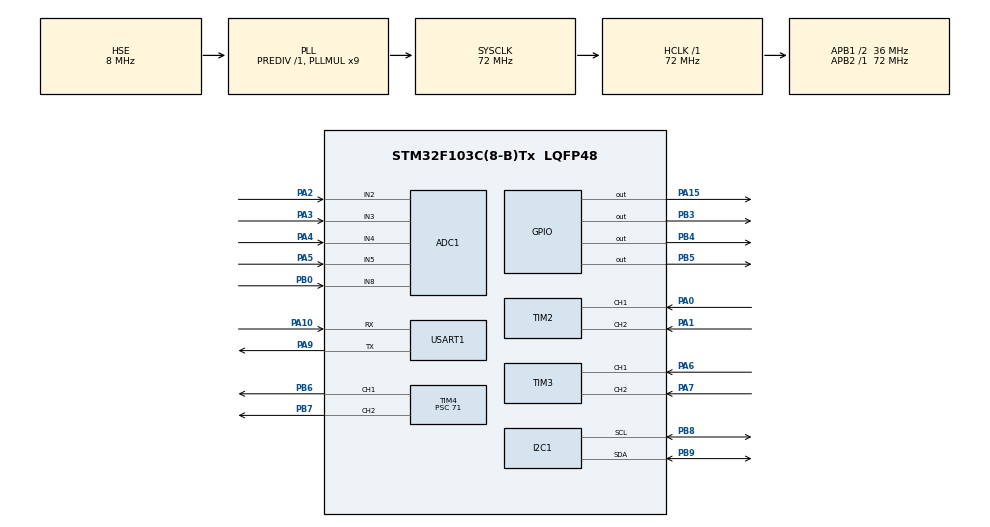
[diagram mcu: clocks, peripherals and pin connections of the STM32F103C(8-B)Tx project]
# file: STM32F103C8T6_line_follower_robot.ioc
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ADC1.Channel-0\#ChannelRegularConversion=ADC_CHANNEL_2
ADC1.Channel-1\#ChannelRegularConversion=ADC_CHANNEL_3
ADC1.Channel-2\#ChannelRegularConversion=ADC_CHANNEL_4
ADC1.Channel-3\#ChannelRegularConversion=ADC_CHANNEL_5
ADC1.Channel-4\#ChannelRegularConversion=ADC_CHANNEL_8
ADC1.NbrOfConversion=5
ADC1.NbrOfConversionFlag=1
ADC1.Rank-0\#ChannelRegularConversion=1
ADC1.Rank-1\#ChannelRegularConversion=2
ADC1.Rank-2\#ChannelRegularConversion=3
ADC1.Rank-3\#ChannelRegularConversion=4
ADC1.Rank-4\#ChannelRegularConversion=5
ADC1.SamplingTime-0\#ChannelRegularConversion=ADC_SAMPLETIME_239CYCLES_5
ADC1.SamplingTime-1\#ChannelRegularConversion=ADC_SAMPLETIME_239CYCLES_5
ADC1.SamplingTime-2\#ChannelRegularConversion=ADC_SAMPLETIME_239CYCLES_5
ADC1.SamplingTime-3\#ChannelRegularConversion=ADC_SAMPLETIME_239CYCLES_5
ADC1.SamplingTime-4\#ChannelRegularConversion=ADC_SAMPLETIME_239CYCLES_5
ADC1.master=1
Dma.ADC1.1.Direction=DMA_PERIPH_TO_MEMORY
Dma.ADC1.1.Instance=DMA1_Channel1
Dma.ADC1.1.MemDataAlignment=DMA_MDATAALIGN_HALFWORD
Dma.ADC1.1.MemInc=DMA_MINC_ENABLE
Dma.ADC1.1.Mode=DMA_CIRCULAR
Dma.ADC1.1.PeriphDataAlignment=DMA_PDATAALIGN_HALFWORD
Dma.ADC1.1.PeriphInc=DMA_PINC_DISABLE
Dma.ADC1.1.Priority=DMA_PRIORITY_LOW
Dma.I2C1_RX.0.Direction=DMA_PERIPH_TO_MEMORY
Dma.I2C1_RX.0.Instance=DMA1_Channel7
Dma.I2C1_RX.0.MemDataAlignment=DMA_MDATAALIGN_BYTE
Dma.I2C1_RX.0.MemInc=DMA_MINC_ENABLE
Dma.I2C1_RX.0.Mode=DMA_NORMAL
Dma.I2C1_RX.0.PeriphDataAlignment=DMA_PDATAALIGN_BYTE
Dma.I2C1_RX.0.PeriphInc=DMA_PINC_DISABLE
Dma.I2C1_RX.0.Priority=DMA_PRIORITY_LOW
Dma.Request0=I2C1_RX
Dma.Request1=ADC1
I2C1.I2C_Mode=I2C_Standard
Mcu.Family=STM32F1
Mcu.Name=STM32F103C(8-B)Tx
Mcu.Package=LQFP48
NVIC.DMA1_Channel1_IRQn=true\:0\:0\:false\:false\:true\:false\:true\:true
NVIC.DMA1_Channel7_IRQn=true\:0\:0\:false\:false\:true\:false\:true\:true
NVIC.I2C1_EV_IRQn=true\:0\:0\:false\:false\:true\:true\:true\:true
NVIC.PriorityGroup=NVIC_PRIORITYGROUP_4
NVIC.TIM1_UP_IRQn=true\:0\:0\:false\:false\:true\:true\:true\:true
NVIC.USART1_IRQn=true\:0\:0\:false\:false\:true\:true\:true\:true
PA0-WKUP.Signal=S_TIM2_CH1_ETR
PA1.Signal=S_TIM2_CH2
PA10.Mode=Asynchronous
PA10.Signal=USART1_RX
PA15.Signal=GPIO_Output
PA2.Signal=ADCx_IN2
PA3.Signal=ADCx_IN3
PA4.Signal=ADCx_IN4
PA5.Signal=ADCx_IN5
PA6.Signal=S_TIM3_CH1
PA7.Signal=S_TIM3_CH2
PA9.Mode=Asynchronous
PA9.Signal=USART1_TX
PB0.Signal=ADCx_IN8
PB3.Signal=GPIO_Output
PB4.Signal=GPIO_Output
PB5.Signal=GPIO_Output
PB6.Signal=S_TIM4_CH1
PB7.Signal=S_TIM4_CH2
PB8.Mode=I2C
PB8.Signal=I2C1_SCL
PB9.Mode=I2C
PB9.Signal=I2C1_SDA
PD0-OSC_IN.Mode=HSE-External-Oscillator
PD0-OSC_IN.Signal=RCC_OSC_IN
PD1-OSC_OUT.Mode=HSE-External-Oscillator
PD1-OSC_OUT.Signal=RCC_OSC_OUT
ProjectManager.HeapSize=0x200
ProjectManager.StackSize=0x400
ProjectManager.TargetToolchain=Makefile
RCC.ADCPresc=RCC_ADCPCLK2_DIV6
RCC.AHBFreq_Value=72000000
RCC.APB1CLKDivider=RCC_HCLK_DIV2
RCC.APB1Freq_Value=36000000
RCC.APB1TimFreq_Value=72000000
RCC.APB2Freq_Value=72000000
RCC.APB2TimFreq_Value=72000000
RCC.HCLKFreq_Value=72000000
RCC.PLLMUL=RCC_PLL_MUL9
RCC.PLLSourceVirtual=RCC_PLLSOURCE_HSE
RCC.SYSCLKFreq_VALUE=72000000
RCC.SYSCLKSource=RCC_SYSCLKSOURCE_PLLCLK
RCC.USBFreq_Value=72000000
SH.ADCx_IN2.0=ADC1_IN2,IN2
SH.ADCx_IN3.0=ADC1_IN3,IN3
SH.ADCx_IN4.0=ADC1_IN4,IN4
SH.ADCx_IN5.0=ADC1_IN5,IN5
SH.ADCx_IN8.0=ADC1_IN8,IN8
SH.S_TIM2_CH1_ETR.0=TIM2_CH1,Encoder_Interface
SH.S_TIM2_CH2.0=TIM2_CH2,Encoder_Interface
SH.S_TIM3_CH1.0=TIM3_CH1,Encoder_Interface
SH.S_TIM3_CH2.0=TIM3_CH2,Encoder_Interface
SH.S_TIM4_CH1.0=TIM4_CH1,PWM Generation1 CH1
SH.S_TIM4_CH2.0=TIM4_CH2,PWM Generation2 CH2
TIM1.AutoReloadPreload=TIM_AUTORELOAD_PRELOAD_ENABLE
TIM1.Period=2000
TIM1.Prescaler=720
TIM2.AutoReloadPreload=TIM_AUTORELOAD_PRELOAD_ENABLE
TIM2.EncoderMode=TIM_ENCODERMODE_TI12
TIM2.IC1Filter=10
TIM2.IC2Filter=10
TIM3.AutoReloadPreload=TIM_AUTORELOAD_PRELOAD_ENABLE
TIM3.EncoderMode=TIM_ENCODERMODE_TI12
TIM3.IC1Filter=10
TIM3.IC2Filter=10
TIM4.AutoReloadPreload=TIM_AUTORELOAD_PRELOAD_ENABLE
TIM4.Channel-PWM\ Generation1\ CH1=TIM_CHANNEL_1
TIM4.Channel-PWM\ Generation2\ CH2=TIM_CHANNEL_2
TIM4.Period=499
TIM4.Prescaler=71
USART1.VirtualMode=VM_ASYNC
VP_SYS_VS_ND.Mode=No_Debug
VP_TIM1_VS_ClockSourceINT.Mode=Internal
VP_TIM4_VS_ClockSourceINT.Mode=Internal
board=custom

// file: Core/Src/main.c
/* USER CODE BEGIN Header */
/**
  ******************************************************************************
  * @file           : main.c
  * @brief          : Main program body
  ******************************************************************************
  * @attention
  *
  * Copyright (c) 2023 STMicroelectronics.
  * All rights reserved.
  *
  * This software is licensed under terms that can be found in the LICENSE file
  * in the root directory of this software component.
  * If no LICENSE file comes with this software, it is provided AS-IS.
  *
  ******************************************************************************
  */
/* USER CODE END Header */
#include "main.h"

/* USER CODE BEGIN Includes */
#include <stdio.h>
#include <string.h>

#include "../../ECUAL/Line_controller/Line_controller.h"
#include "../../ECUAL/Line_controller/Line_controller_cfg.h"
#include "../../ECUAL/PID_motor/PID_motor.h"
#include "../../ECUAL/PID_motor/PID_motor_cfg.h"
/* USER CODE END Includes */

/* USER CODE BEGIN PD */

// Define the I2C address of the slave controller
#define SLAVE_ADD 8

/* USER CODE END PD */

ADC_HandleTypeDef hadc1;
DMA_HandleTypeDef hdma_adc1;

I2C_HandleTypeDef hi2c1;
DMA_HandleTypeDef hdma_i2c1_rx;

TIM_HandleTypeDef htim1;
TIM_HandleTypeDef htim2;
TIM_HandleTypeDef htim3;
TIM_HandleTypeDef htim4;

UART_HandleTypeDef huart1;

void SystemClock_Config(void);
static void MX_GPIO_Init(void);
static void MX_DMA_Init(void);
static void MX_ADC1_Init(void);
static void MX_TIM1_Init(void);
static void MX_TIM2_Init(void);
static void MX_TIM3_Init(void);
static void MX_TIM4_Init(void);
static void MX_USART1_UART_Init(void);
static void MX_I2C1_Init(void);
/* USER CODE BEGIN PFP */
static void sequencePosition(void);
/* USER CODE END PFP */

/* USER CODE BEGIN 0 */

// Current used controller
typedef enum
{
  LINE_CONTROLLER,
  POSITION_CONTROLLER
}Controller_type;

// Condition of avoiding obstacle
typedef enum
{
  FAR,
  CLOSE,
  ATTEMPING,
  DONE_AVOID
}Obstacle_condition;

// Sequence of avoiding obstacle
typedef enum
{
  ROTATE_RIGHT_1,
  LINEAR_100_1,
  ROTATE_LEFT_1,
  LINEAR_200,
  ROTATE_LEFT_2,
  LINEAR_100_2,
  ROTATE_RIGHT_2,
  DONE
}Obstacle_avoidance;

Controller_type current_controller = LINE_CONTROLLER;
Obstacle_condition obstacle_condition = FAR;
Obstacle_avoidance obstacle_avoidance = ROTATE_RIGHT_1;

// Global variables
uint8_t tx_buffer[20];
uint8_t count = 0;

uint8_t obs_command[1];
uint8_t i2c_flag = 1;
uint8_t last_obs_command = 'a';
uint8_t running = 0;

// // Function to handle I2C DMA service
void HAL_I2C_MasterRxCpltCallback (I2C_HandleTypeDef* hi2c)
{
  if(i2c_flag)
  {
    // Check if 2 consecutive values are the same to avoid noise
    if(obs_command[0] == last_obs_command && last_obs_command != 'a')
    {
      // Reduce the speed of the motor when close to the obstacle
      if(last_obs_command == 'b')
      {
        linearVelocityUpdate(&robot_line_controller, 0.2);
        obstacle_condition = CLOSE;
      }
      // Change to position control mode when close to the obstalce
      else if(last_obs_command == 'c')
      {
        robotStop(&motor_left, &motor_right);
        obstacle_condition = ATTEMPING;
        current_controller = POSITION_CONTROLLER;
      }
    }
    last_obs_command = obs_command[0];
  }
  i2c_flag = 1 - i2c_flag;
}

// Function to handle timer interrupt callback
void HAL_TIM_PeriodElapsedCallback(TIM_HandleTypeDef* htim)
{
  if(htim->Instance == TIM1)
  {
    // Get the obstacle distance value from the slave controller
    if(obstacle_condition == FAR || obstacle_condition == CLOSE)
    {
      HAL_I2C_Master_Receive_DMA(&hi2c1, ((SLAVE_ADD << 0x01) | 0x01), obs_command, 1);
    }

    switch (current_controller)
    {
    case LINE_CONTROLLER:
      // Activate the line controller every 100ms
      if(++count == 4)
      {
        count = 0;
        lineControllerPID(&hadc1, &motor_left, &motor_right, &robot_line_controller);
      }
      // Control the speed of 2 motors every 20ms
      speedControlPID(&motor_left);
      speedControlPID(&motor_right);

      break;

    case POSITION_CONTROLLER:
      sequencePosition();
      // Control the position of the robot every 20ms
      uint8_t pos_l = positionControlPID(&motor_left);
      uint8_t pos_r = positionControlPID(&motor_right);
      if(pos_l && pos_r)
      {
        running = 0;
        pos_l = 0;
        pos_r = 0;
        // HAL_UART_Transmit(&huart1, "Done\r\n", 6, 100);
      }
      break;

    default:
      break;
    }

    // Send the real-time data via Bluetooth to computer
    sprintf((char*)tx_buffer,"%ld,%ld,%.2f\r\n", motor_left.real_speed, motor_right.real_speed, robot_line_controller.robot_line_sensor.sensor_output);
    HAL_UART_Transmit(&huart1, tx_buffer, strlen((char*)tx_buffer), 100);
  }
}

/* USER CODE END 0 */

int main(void)
{

  /* MCU Configuration--------------------------------------------------------*/

  /* Reset of all peripherals, Initializes the Flash interface and the Systick. */
  HAL_Init();

  /* Configure the system clock */
  SystemClock_Config();

  /* Initialize all configured peripherals */
  MX_GPIO_Init();
  MX_DMA_Init();
  MX_ADC1_Init();
  MX_TIM1_Init();
  MX_TIM2_Init();
  MX_TIM3_Init();
  MX_TIM4_Init();
  MX_USART1_UART_Init();
  MX_I2C1_Init();
  /* USER CODE BEGIN 2 */

  // Initiate the line follower controller
  lineControllerInit(&hadc1, motor_left, motor_right, &robot_line_controller, 0.4);

  // Initiate the PWM of the 2 motors
  HAL_TIM_PWM_Start(&htim4, TIM_CHANNEL_1);
  HAL_TIM_PWM_Start(&htim4, TIM_CHANNEL_2);

  // Initiate the Encoder read of 2 motors
  HAL_TIM_Encoder_Start(&htim2, TIM_CHANNEL_ALL);
  HAL_TIM_Encoder_Start(&htim3, TIM_CHANNEL_ALL);

  HAL_Delay(1000);

  // Scan for slave device
  // if(HAL_I2C_IsDeviceReady(&hi2c1, (uint16_t)(SLAVE_ADD << 1), 3, 5)  != HAL_OK)
  // {
  //   HAL_UART_Transmit_DMA(&huart1, (uint8_t*)"Error: Slave no found\r\n", 24);
  //   return 0;
  // }

  // Send signal message via Bluetooth
  HAL_UART_Transmit(&huart1, (uint8_t*)"System is ready\r\n", 17, 100);

  // Initiate the system overall TIMER
  HAL_TIM_Base_Start_IT(&htim1);

  // Read the line sensor for the first time
  lineControllerPID(&hadc1, &motor_left, &motor_right, &robot_line_controller);
  /* USER CODE END 2 */

  /* Infinite loop */
  while (1)
  {

  }
}

void SystemClock_Config(void)
{
  RCC_OscInitTypeDef RCC_OscInitStruct = {0};
  RCC_ClkInitTypeDef RCC_ClkInitStruct = {0};
  RCC_PeriphCLKInitTypeDef PeriphClkInit = {0};

  /** Initializes the RCC Oscillators according to the specified parameters
  * in the RCC_OscInitTypeDef structure.
  */
  RCC_OscInitStruct.OscillatorType = RCC_OSCILLATORTYPE_HSE;
  RCC_OscInitStruct.HSEState = RCC_HSE_ON;
  RCC_OscInitStruct.HSEPredivValue = RCC_HSE_PREDIV_DIV1;
  RCC_OscInitStruct.HSIState = RCC_HSI_ON;
  RCC_OscInitStruct.PLL.PLLState = RCC_PLL_ON;
  RCC_OscInitStruct.PLL.PLLSource = RCC_PLLSOURCE_HSE;
  RCC_OscInitStruct.PLL.PLLMUL = RCC_PLL_MUL9;
  if (HAL_RCC_OscConfig(&RCC_OscInitStruct) != HAL_OK)
  {
    Error_Handler();
  }

  /** Initializes the CPU, AHB and APB buses clocks
  */
  RCC_ClkInitStruct.ClockType = RCC_CLOCKTYPE_HCLK|RCC_CLOCKTYPE_SYSCLK
                              |RCC_CLOCKTYPE_PCLK1|RCC_CLOCKTYPE_PCLK2;
  RCC_ClkInitStruct.SYSCLKSource = RCC_SYSCLKSOURCE_PLLCLK;
  RCC_ClkInitStruct.AHBCLKDivider = RCC_SYSCLK_DIV1;
  RCC_ClkInitStruct.APB1CLKDivider = RCC_HCLK_DIV2;
  RCC_ClkInitStruct.APB2CLKDivider = RCC_HCLK_DIV1;

  if (HAL_RCC_ClockConfig(&RCC_ClkInitStruct, FLASH_LATENCY_2) != HAL_OK)
  {
    Error_Handler();
  }
  PeriphClkInit.PeriphClockSelection = RCC_PERIPHCLK_ADC;
  PeriphClkInit.AdcClockSelection = RCC_ADCPCLK2_DIV6;
  if (HAL_RCCEx_PeriphCLKConfig(&PeriphClkInit) != HAL_OK)
  {
    Error_Handler();
  }
}

static void MX_ADC1_Init(void)
{

  ADC_ChannelConfTypeDef sConfig = {0};

  /** Common config
  */
  hadc1.Instance = ADC1;
  hadc1.Init.ScanConvMode = ADC_SCAN_ENABLE;
  hadc1.Init.ContinuousConvMode = DISABLE;
  hadc1.Init.DiscontinuousConvMode = DISABLE;
  hadc1.Init.ExternalTrigConv = ADC_SOFTWARE_START;
  hadc1.Init.DataAlign = ADC_DATAALIGN_RIGHT;
  hadc1.Init.NbrOfConversion = 5;
  if (HAL_ADC_Init(&hadc1) != HAL_OK)
  {
    Error_Handler();
  }

  /** Configure Regular Channel
  */
  sConfig.Channel = ADC_CHANNEL_2;
  sConfig.Rank = ADC_REGULAR_RANK_1;
  sConfig.SamplingTime = ADC_SAMPLETIME_239CYCLES_5;
  if (HAL_ADC_ConfigChannel(&hadc1, &sConfig) != HAL_OK)
  {
    Error_Handler();
  }

  /** Configure Regular Channel
  */
  sConfig.Channel = ADC_CHANNEL_3;
  sConfig.Rank = ADC_REGULAR_RANK_2;
  if (HAL_ADC_ConfigChannel(&hadc1, &sConfig) != HAL_OK)
  {
    Error_Handler();
  }

  /** Configure Regular Channel
  */
  sConfig.Channel = ADC_CHANNEL_4;
  sConfig.Rank = ADC_REGULAR_RANK_3;
  if (HAL_ADC_ConfigChannel(&hadc1, &sConfig) != HAL_OK)
  {
    Error_Handler();
  }

  /** Configure Regular Channel
  */
  sConfig.Channel = ADC_CHANNEL_5;
  sConfig.Rank = ADC_REGULAR_RANK_4;
  if (HAL_ADC_ConfigChannel(&hadc1, &sConfig) != HAL_OK)
  {
    Error_Handler();
  }

  /** Configure Regular Channel
  */
  sConfig.Channel = ADC_CHANNEL_8;
  sConfig.Rank = ADC_REGULAR_RANK_5;
  if (HAL_ADC_ConfigChannel(&hadc1, &sConfig) != HAL_OK)
  {
    Error_Handler();
  }

}

static void MX_I2C1_Init(void)
{

  hi2c1.Instance = I2C1;
  hi2c1.Init.ClockSpeed = 100000;
  hi2c1.Init.DutyCycle = I2C_DUTYCYCLE_2;
  hi2c1.Init.OwnAddress1 = 0;
  hi2c1.Init.AddressingMode = I2C_ADDRESSINGMODE_7BIT;
  hi2c1.Init.DualAddressMode = I2C_DUALADDRESS_DISABLE;
  hi2c1.Init.OwnAddress2 = 0;
  hi2c1.Init.GeneralCallMode = I2C_GENERALCALL_DISABLE;
  hi2c1.Init.NoStretchMode = I2C_NOSTRETCH_DISABLE;
  if (HAL_I2C_Init(&hi2c1) != HAL_OK)
  {
    Error_Handler();
  }

}

static void MX_TIM1_Init(void)
{

  TIM_ClockConfigTypeDef sClockSourceConfig = {0};
  TIM_MasterConfigTypeDef sMasterConfig = {0};

  htim1.Instance = TIM1;
  htim1.Init.Prescaler = 720;
  htim1.Init.CounterMode = TIM_COUNTERMODE_UP;
  htim1.Init.Period = 2000;
  htim1.Init.ClockDivision = TIM_CLOCKDIVISION_DIV1;
  htim1.Init.RepetitionCounter = 0;
  htim1.Init.AutoReloadPreload = TIM_AUTORELOAD_PRELOAD_ENABLE;
  if (HAL_TIM_Base_Init(&htim1) != HAL_OK)
  {
    Error_Handler();
  }
  sClockSourceConfig.ClockSource = TIM_CLOCKSOURCE_INTERNAL;
  if (HAL_TIM_ConfigClockSource(&htim1, &sClockSourceConfig) != HAL_OK)
  {
    Error_Handler();
  }
  sMasterConfig.MasterOutputTrigger = TIM_TRGO_RESET;
  sMasterConfig.MasterSlaveMode = TIM_MASTERSLAVEMODE_DISABLE;
  if (HAL_TIMEx_MasterConfigSynchronization(&htim1, &sMasterConfig) != HAL_OK)
  {
    Error_Handler();
  }

}

static void MX_TIM2_Init(void)
{

  TIM_Encoder_InitTypeDef sConfig = {0};
  TIM_MasterConfigTypeDef sMasterConfig = {0};

  htim2.Instance = TIM2;
  htim2.Init.Prescaler = 0;
  htim2.Init.CounterMode = TIM_COUNTERMODE_UP;
  htim2.Init.Period = 65535;
  htim2.Init.ClockDivision = TIM_CLOCKDIVISION_DIV1;
  htim2.Init.AutoReloadPreload = TIM_AUTORELOAD_PRELOAD_ENABLE;
  sConfig.EncoderMode = TIM_ENCODERMODE_TI12;
  sConfig.IC1Polarity = TIM_ICPOLARITY_RISING;
  sConfig.IC1Selection = TIM_ICSELECTION_DIRECTTI;
  sConfig.IC1Prescaler = TIM_ICPSC_DIV1;
  sConfig.IC1Filter = 10;
  sConfig.IC2Polarity = TIM_ICPOLARITY_RISING;
  sConfig.IC2Selection = TIM_ICSELECTION_DIRECTTI;
  sConfig.IC2Prescaler = TIM_ICPSC_DIV1;
  sConfig.IC2Filter = 10;
  if (HAL_TIM_Encoder_Init(&htim2, &sConfig) != HAL_OK)
  {
    Error_Handler();
  }
  sMasterConfig.MasterOutputTrigger = TIM_TRGO_RESET;
  sMasterConfig.MasterSlaveMode = TIM_MASTERSLAVEMODE_DISABLE;
  if (HAL_TIMEx_MasterConfigSynchronization(&htim2, &sMasterConfig) != HAL_OK)
  {
    Error_Handler();
  }

}

static void MX_TIM3_Init(void)
{

  TIM_Encoder_InitTypeDef sConfig = {0};
  TIM_MasterConfigTypeDef sMasterConfig = {0};

  htim3.Instance = TIM3;
  htim3.Init.Prescaler = 0;
  htim3.Init.CounterMode = TIM_COUNTERMODE_UP;
  htim3.Init.Period = 65535;
  htim3.Init.ClockDivision = TIM_CLOCKDIVISION_DIV1;
  htim3.Init.AutoReloadPreload = TIM_AUTORELOAD_PRELOAD_ENABLE;
  sConfig.EncoderMode = TIM_ENCODERMODE_TI12;
  sConfig.IC1Polarity = TIM_ICPOLARITY_RISING;
  sConfig.IC1Selection = TIM_ICSELECTION_DIRECTTI;
  sConfig.IC1Prescaler = TIM_ICPSC_DIV1;
  sConfig.IC1Filter = 10;
  sConfig.IC2Polarity = TIM_ICPOLARITY_RISING;
  sConfig.IC2Selection = TIM_ICSELECTION_DIRECTTI;
  sConfig.IC2Prescaler = TIM_ICPSC_DIV1;
  sConfig.IC2Filter = 10;
  if (HAL_TIM_Encoder_Init(&htim3, &sConfig) != HAL_OK)
  {
    Error_Handler();
  }
  sMasterConfig.MasterOutputTrigger = TIM_TRGO_RESET;
  sMasterConfig.MasterSlaveMode = TIM_MASTERSLAVEMODE_DISABLE;
  if (HAL_TIMEx_MasterConfigSynchronization(&htim3, &sMasterConfig) != HAL_OK)
  {
    Error_Handler();
  }

}

static void MX_TIM4_Init(void)
{

  TIM_ClockConfigTypeDef sClockSourceConfig = {0};
  TIM_MasterConfigTypeDef sMasterConfig = {0};
  TIM_OC_InitTypeDef sConfigOC = {0};

  htim4.Instance = TIM4;
  htim4.Init.Prescaler = 71;
  htim4.Init.CounterMode = TIM_COUNTERMODE_UP;
  htim4.Init.Period = 499;
  htim4.Init.ClockDivision = TIM_CLOCKDIVISION_DIV1;
  htim4.Init.AutoReloadPreload = TIM_AUTORELOAD_PRELOAD_ENABLE;
  if (HAL_TIM_Base_Init(&htim4) != HAL_OK)
  {
    Error_Handler();
  }
  sClockSourceConfig.ClockSource = TIM_CLOCKSOURCE_INTERNAL;
  if (HAL_TIM_ConfigClockSource(&htim4, &sClockSourceConfig) != HAL_OK)
  {
    Error_Handler();
  }
  if (HAL_TIM_PWM_Init(&htim4) != HAL_OK)
  {
    Error_Handler();
  }
  sMasterConfig.MasterOutputTrigger = TIM_TRGO_RESET;
  sMasterConfig.MasterSlaveMode = TIM_MASTERSLAVEMODE_DISABLE;
  if (HAL_TIMEx_MasterConfigSynchronization(&htim4, &sMasterConfig) != HAL_OK)
  {
    Error_Handler();
  }
  sConfigOC.OCMode = TIM_OCMODE_PWM1;
  sConfigOC.Pulse = 0;
  sConfigOC.OCPolarity = TIM_OCPOLARITY_HIGH;
  sConfigOC.OCFastMode = TIM_OCFAST_DISABLE;
  if (HAL_TIM_PWM_ConfigChannel(&htim4, &sConfigOC, TIM_CHANNEL_1) != HAL_OK)
  {
    Error_Handler();
  }
  if (HAL_TIM_PWM_ConfigChannel(&htim4, &sConfigOC, TIM_CHANNEL_2) != HAL_OK)
  {
    Error_Handler();
  }
  HAL_TIM_MspPostInit(&htim4);

}

static void MX_USART1_UART_Init(void)
{

  huart1.Instance = USART1;
  huart1.Init.BaudRate = 115200;
  huart1.Init.WordLength = UART_WORDLENGTH_8B;
  huart1.Init.StopBits = UART_STOPBITS_1;
  huart1.Init.Parity = UART_PARITY_NONE;
  huart1.Init.Mode = UART_MODE_TX_RX;
  huart1.Init.HwFlowCtl = UART_HWCONTROL_NONE;
  huart1.Init.OverSampling = UART_OVERSAMPLING_16;
  if (HAL_UART_Init(&huart1) != HAL_OK)
  {
    Error_Handler();
  }

}

static void MX_DMA_Init(void)
{

  /* DMA controller clock enable */
  __HAL_RCC_DMA1_CLK_ENABLE();

  /* DMA interrupt init */
  /* DMA1_Channel1_IRQn interrupt configuration */
  HAL_NVIC_SetPriority(DMA1_Channel1_IRQn, 0, 0);
  HAL_NVIC_EnableIRQ(DMA1_Channel1_IRQn);
  /* DMA1_Channel7_IRQn interrupt configuration */
  HAL_NVIC_SetPriority(DMA1_Channel7_IRQn, 0, 0);
  HAL_NVIC_EnableIRQ(DMA1_Channel7_IRQn);

}

static void MX_GPIO_Init(void)
{
  GPIO_InitTypeDef GPIO_InitStruct = {0};

  /* GPIO Ports Clock Enable */
  __HAL_RCC_GPIOD_CLK_ENABLE();
  __HAL_RCC_GPIOA_CLK_ENABLE();
  __HAL_RCC_GPIOB_CLK_ENABLE();

  /*Configure GPIO pin Output Level */
  HAL_GPIO_WritePin(GPIOA, GPIO_PIN_15, GPIO_PIN_RESET);

  /*Configure GPIO pin Output Level */
  HAL_GPIO_WritePin(GPIOB, GPIO_PIN_3|GPIO_PIN_4|GPIO_PIN_5, GPIO_PIN_RESET);

  /*Configure GPIO pin : PA15 */
  GPIO_InitStruct.Pin = GPIO_PIN_15;
  GPIO_InitStruct.Mode = GPIO_MODE_OUTPUT_PP;
  GPIO_InitStruct.Pull = GPIO_NOPULL;
  GPIO_InitStruct.Speed = GPIO_SPEED_FREQ_LOW;
  HAL_GPIO_Init(GPIOA, &GPIO_InitStruct);

  /*Configure GPIO pins : PB3 PB4 PB5 */
  GPIO_InitStruct.Pin = GPIO_PIN_3|GPIO_PIN_4|GPIO_PIN_5;
  GPIO_InitStruct.Mode = GPIO_MODE_OUTPUT_PP;
  GPIO_InitStruct.Pull = GPIO_NOPULL;
  GPIO_InitStruct.Speed = GPIO_SPEED_FREQ_LOW;
  HAL_GPIO_Init(GPIOB, &GPIO_InitStruct);

}

/* USER CODE BEGIN 4 */

// Funciton to update the sequence of the obstacle avoidance algorithm
static void sequencePosition()
{
  // Sequence to avoid obstacle
  if(obstacle_condition == ATTEMPING && current_controller == POSITION_CONTROLLER)
  {
    if(!running)
    {
      switch (obstacle_avoidance)
      {
      case ROTATE_RIGHT_1:
        robotRotateRight(&motor_left, &motor_right, &robot_line_controller, 120, 30, 25);
        obstacle_avoidance = LINEAR_100_1;
        break;

      case LINEAR_100_1:
        robotLinear(&motor_left, &motor_right, &robot_line_controller, 200, 120, 30);
        obstacle_avoidance = ROTATE_LEFT_1;
        break;

      case ROTATE_LEFT_1:
        robotRotateLeft(&motor_left, &motor_right, &robot_line_controller, 120, 30);
        obstacle_avoidance = LINEAR_200;
        break;

      case LINEAR_200:
        robotLinear(&motor_left, &motor_right, &robot_line_controller, 350, 120, 30);
        obstacle_avoidance = ROTATE_LEFT_2;
        break;

      case ROTATE_LEFT_2:
        robotRotateLeft(&motor_left, &motor_right, &robot_line_controller, 120, 30);
        obstacle_avoidance = LINEAR_100_2;
        break;

      case LINEAR_100_2:
        robotLinear(&motor_left, &motor_right, &robot_line_controller, 200, 120, 30);
        obstacle_avoidance = ROTATE_RIGHT_2;
        break;

      case ROTATE_RIGHT_2:
        robotRotateRight(&motor_left, &motor_right, &robot_line_controller, 120, 30, 0.0);
        obstacle_avoidance = DONE;
        break;

      case DONE:
        obstacle_condition = DONE_AVOID;
        current_controller = LINE_CONTROLLER;
        linearVelocityUpdate(&robot_line_controller, 0.4);
        break;

      default:
        break;
      }
      running = 1;
    }
  }
  return;
}

/* USER CODE END 4 */

void Error_Handler(void)
{
  __disable_irq();
  while (1)
  {
  }
}
